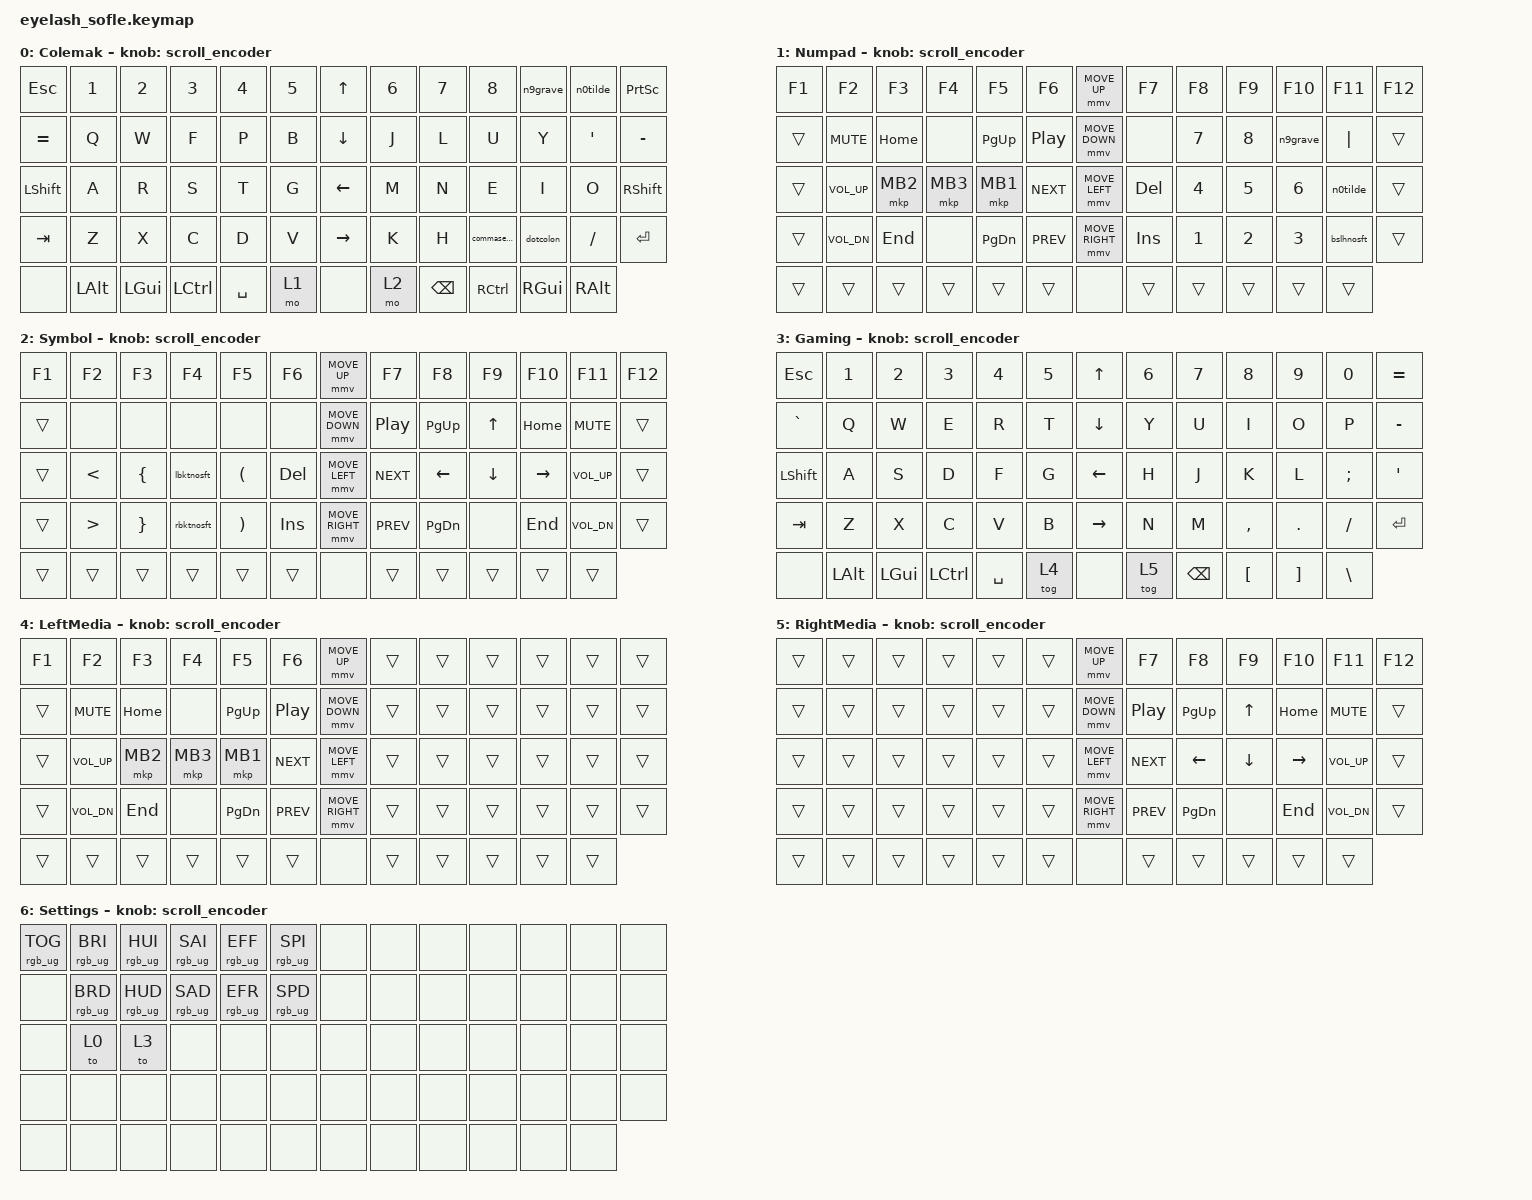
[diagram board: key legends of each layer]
#define ZMK_POINTING_DEFAULT_MOVE_VAL 1800  // 600
#define ZMK_POINTING_DEFAULT_SCRL_VAL 200   // 10

#include <input/processors.dtsi>
#include <zephyr/dt-bindings/input/input-event-codes.h>
#include <behaviors.dtsi>
#include <dt-bindings/zmk/bt.h>
#include <dt-bindings/zmk/keys.h>
#include <dt-bindings/zmk/outputs.h>
#include <dt-bindings/zmk/pointing.h>
#include <dt-bindings/zmk/rgb.h>


&msc {
    acceleration-exponent = <0>;      // 0
    time-to-max-speed-ms = <0>;       // 300
    delay-ms = <0>;                   // 0
    trigger-period-ms = <8>;          // 8
};

&mmv {
    time-to-max-speed-ms = <400>;
    acceleration-exponent = <1>;
};

&caps_word {
  continue-list = <UNDERSCORE MINUS BACKSPACE DELETE>;
};

/ {
    scroll_encoder: scroll_encoder {
        compatible = "zmk,behavior-sensor-rotate";
        #sensor-binding-cells = <0>;
        bindings = <&msc SCRL_DOWN>, <&msc SCRL_UP>;

        tap-ms = <10>;
    };

    behaviors {
      n9grave: nine_grave {
        compatible = "zmk,behavior-mod-morph";
        #binding-cells = <0>;
        bindings = <&kp N9>, <&kp GRAVE>;
        mods = <(MOD_LSFT|MOD_RSFT)>;
      };
      n0tilde: zero_tilde {
        compatible = "zmk,behavior-mod-morph";
        #binding-cells = <0>;
        bindings = <&kp N0>, <&kp TILDE>;
        mods = <(MOD_LSFT|MOD_RSFT)>;
      };
      commasemi: comma_semi {
        compatible = "zmk,behavior-mod-morph";
        #binding-cells = <0>;
        bindings = <&kp COMMA>, <&kp SEMI>;
        mods = <(MOD_LSFT|MOD_RSFT)>;
      };
      dotcolon: dot_colon {
        compatible = "zmk,behavior-mod-morph";
        #binding-cells = <0>;
        bindings = <&kp DOT>, <&kp COLON>;
        mods = <(MOD_LSFT|MOD_RSFT)>;
      };
      bslhnosft: backslash_no_shift {
        compatible = "zmk,behavior-mod-morph";
        #binding-cells = <0>;
        bindings = <&kp BSLH>, <&kp BSLH>;
        mods = <(MOD_LSFT|MOD_RSFT)>;
      };
      lbktnosft: leftbracket_no_shift {
        compatible = "zmk,behavior-mod-morph";
        #binding-cells = <0>;
        bindings = <&kp LBKT>, <&kp LBKT>;
        mods = <(MOD_LSFT|MOD_RSFT)>;
      };
      rbktnosft: rightbracket_no_shift {
        compatible = "zmk,behavior-mod-morph";
        #binding-cells = <0>;
        bindings = <&kp RBKT>, <&kp RBKT>;
        mods = <(MOD_LSFT|MOD_RSFT)>;
      };
      dotnosft: dot_no_shift {
        compatible = "zmk,behavior-mod-morph";
        #binding-cells = <0>;
        bindings = <&kp DOT>, <&kp DOT>;
        mods = <(MOD_LSFT|MOD_RSFT)>;
      };
    };

    combos {
      compatible = "zmk,combos";
      combo_caps_lock {
        timeout-ms = <50>;
        bindings = <&caps_word>;
        key-positions = <26 38>;
      };
    };

    conditional-layers {
      compatible = "zmk,conditional-layers";
      colemakto6 {
        if-layers = <1 2>;
        then-layer = <6>;
      };
      gamingto6 {
        if-layers = <4 5>;
        then-layer = <6>;
      };
    };


    keymap {
        compatible = "zmk,keymap";

        layer0 {
            bindings = <
&kp ESC    &kp N1    &kp N2    &kp N3     &kp N4     &kp N5    &kp UP       &kp N6  &kp N7    &kp N8      &n9grave   &n0tilde  &kp PSCRN
&kp EQUAL  &kp Q     &kp W     &kp F      &kp P      &kp B     &kp DOWN     &kp J   &kp L     &kp U       &kp Y      &kp SQT   &kp MINUS
&kp LSHFT  &kp A     &kp R     &kp S      &kp T      &kp G     &kp LEFT     &kp M   &kp N     &kp E       &kp I      &kp O     &kp RSHFT
&kp TAB    &kp Z     &kp X     &kp C      &kp D      &kp V     &kp RIGHT    &kp K   &kp H     &commasemi  &dotcolon  &kp FSLH  &kp RET
&none      &kp LALT  &kp LGUI  &kp LCTRL  &kp SPACE  &mo 1     &none        &mo 2   &kp BSPC  &kp RCTRL   &kp RGUI   &kp RALT
            >;
            sensor-bindings = <&scroll_encoder>;
            display-name = "Colemak";
        };

        layer1 {
            bindings = <
&kp F1  &kp F2        &kp F3    &kp F4    &kp F5     &kp F6        &mmv MOVE_UP       &kp F7   &kp F8  &kp F9  &kp F10   &kp F11     &kp F12
&trans  &kp C_MUTE    &kp HOME  &none     &kp PG_UP  &kp C_PP      &mmv MOVE_DOWN     &none    &kp N7  &kp N8  &n9grave  &kp PIPE    &trans
&trans  &kp C_VOL_UP  &mkp MB2  &mkp MB3  &mkp MB1   &kp C_NEXT    &mmv MOVE_LEFT     &kp DEL  &kp N4  &kp N5  &kp N6    &n0tilde    &trans
&trans  &kp C_VOL_DN  &kp END   &none     &kp PG_DN  &kp C_PREV    &mmv MOVE_RIGHT    &kp INS  &kp N1  &kp N2  &kp N3    &bslhnosft  &trans
&trans  &trans        &trans    &trans    &trans     &trans        &none              &trans   &trans  &trans  &trans    &trans
            >;
            sensor-bindings = <&scroll_encoder>;
            display-name = "Numpad";
        };

        layer2 {
            bindings = <
&kp F1  &kp F2  &kp F3    &kp F4      &kp F5    &kp F6     &mmv MOVE_UP       &kp F7      &kp F8     &kp F9    &kp F10    &kp F11       &kp F12
&trans  &none   &none     &none       &none     &none      &mmv MOVE_DOWN     &kp C_PP    &kp PG_UP  &kp UP    &kp HOME   &kp C_MUTE    &trans
&trans  &kp LT  &kp LBRC  &lbktnosft  &kp LPAR  &kp DEL    &mmv MOVE_LEFT     &kp C_NEXT  &kp LEFT   &kp DOWN  &kp RIGHT  &kp C_VOL_UP  &trans
&trans  &kp GT  &kp RBRC  &rbktnosft  &kp RPAR  &kp INS    &mmv MOVE_RIGHT    &kp C_PREV  &kp PG_DN  &none     &kp END    &kp C_VOL_DN  &trans
&trans  &trans  &trans    &trans      &trans    &trans     &none              &trans      &trans     &trans    &trans     &trans
            >;
            sensor-bindings = <&scroll_encoder>;
            display-name = "Symbol";
        };

        layer3 {
            bindings = <
&kp ESC    &kp N1    &kp N2    &kp N3     &kp N4     &kp N5   &kp UP       &kp N6  &kp N7    &kp N8     &kp N9    &kp N0    &kp EQUAL
&kp GRAVE  &kp Q     &kp W     &kp E      &kp R      &kp T    &kp DOWN     &kp Y   &kp U     &kp I      &kp O     &kp P     &kp MINUS
&kp LSHFT  &kp A     &kp S     &kp D      &kp F      &kp G    &kp LEFT     &kp H   &kp J     &kp K      &kp L     &kp SEMI  &kp SQT
&kp TAB    &kp Z     &kp X     &kp C      &kp V      &kp B    &kp RIGHT    &kp N   &kp M     &kp COMMA  &kp DOT   &kp FSLH  &kp RET
&none      &kp LALT  &kp LGUI  &kp LCTRL  &kp SPACE  &tog 4   &none        &tog 5  &kp BSPC  &kp LBKT   &kp RBKT  &kp BSLH
            >;
            sensor-bindings = <&scroll_encoder>;
            display-name = "Gaming";
        };

        layer4 {
            bindings = <
&kp F1  &kp F2        &kp F3    &kp F4    &kp F5     &kp F6        &mmv MOVE_UP       &trans  &trans  &trans  &trans  &trans  &trans
&trans  &kp C_MUTE    &kp HOME  &none     &kp PG_UP  &kp C_PP      &mmv MOVE_DOWN     &trans  &trans  &trans  &trans  &trans  &trans
&trans  &kp C_VOL_UP  &mkp MB2  &mkp MB3  &mkp MB1   &kp C_NEXT    &mmv MOVE_LEFT     &trans  &trans  &trans  &trans  &trans  &trans
&trans  &kp C_VOL_DN  &kp END   &none     &kp PG_DN  &kp C_PREV    &mmv MOVE_RIGHT    &trans  &trans  &trans  &trans  &trans  &trans
&trans  &trans        &trans    &trans    &trans     &trans        &none              &trans  &trans  &trans  &trans  &trans
            >;
            sensor-bindings = <&scroll_encoder>;
            display-name = "LeftMedia";
        };

        layer5 {
            bindings = <
&trans  &trans  &trans  &trans  &trans  &trans    &mmv MOVE_UP       &kp F7      &kp F8     &kp F9    &kp F10    &kp F11       &kp F12
&trans  &trans  &trans  &trans  &trans  &trans    &mmv MOVE_DOWN     &kp C_PP    &kp PG_UP  &kp UP    &kp HOME   &kp C_MUTE    &trans
&trans  &trans  &trans  &trans  &trans  &trans    &mmv MOVE_LEFT     &kp C_NEXT  &kp LEFT   &kp DOWN  &kp RIGHT  &kp C_VOL_UP  &trans
&trans  &trans  &trans  &trans  &trans  &trans    &mmv MOVE_RIGHT    &kp C_PREV  &kp PG_DN  &none     &kp END    &kp C_VOL_DN  &trans
&trans  &trans  &trans  &trans  &trans  &trans    &none              &trans      &trans     &trans    &trans     &trans
            >;
            sensor-bindings = <&scroll_encoder>;
            display-name = "RightMedia";
        };

        layer6 {
            bindings = <
&rgb_ug RGB_TOG  &rgb_ug RGB_BRI  &rgb_ug RGB_HUI  &rgb_ug RGB_SAI  &rgb_ug RGB_EFF  &rgb_ug RGB_SPI    &none    &none  &none  &none  &none  &none  &none
&none            &rgb_ug RGB_BRD  &rgb_ug RGB_HUD  &rgb_ug RGB_SAD  &rgb_ug RGB_EFR  &rgb_ug RGB_SPD    &none    &none  &none  &none  &none  &none  &none
&none            &to 0            &to 3            &none            &none            &none              &none    &none  &none  &none  &none  &none  &none
&none            &none            &none            &none            &none            &none              &none    &none  &none  &none  &none  &none  &none
&none            &none            &none            &none            &none            &none              &none    &none  &none  &none  &none  &none 
            >;
            sensor-bindings = <&scroll_encoder>;
            display-name = "Settings";
        };
    };
};



